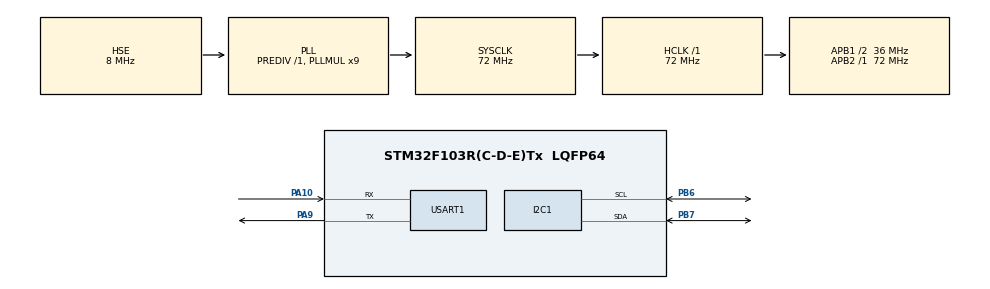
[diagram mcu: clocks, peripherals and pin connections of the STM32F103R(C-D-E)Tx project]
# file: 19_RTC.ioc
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I2C1.I2C_Mode=I2C_Fast
Mcu.Family=STM32F1
Mcu.Name=STM32F103R(C-D-E)Tx
Mcu.Package=LQFP64
NVIC.PriorityGroup=NVIC_PRIORITYGROUP_4
PA10.Mode=Asynchronous
PA10.Signal=USART1_RX
PA13.Mode=Serial_Wire
PA13.Signal=SYS_JTMS-SWDIO
PA14.Mode=Serial_Wire
PA14.Signal=SYS_JTCK-SWCLK
PA9.Mode=Asynchronous
PA9.Signal=USART1_TX
PB6.Mode=I2C
PB6.Signal=I2C1_SCL
PB7.Mode=I2C
PB7.Signal=I2C1_SDA
PC14-OSC32_IN.Mode=LSE-External-Oscillator
PC14-OSC32_IN.Signal=RCC_OSC32_IN
PC15-OSC32_OUT.Mode=LSE-External-Oscillator
PC15-OSC32_OUT.Signal=RCC_OSC32_OUT
PD0-OSC_IN.Mode=HSE-External-Oscillator
PD0-OSC_IN.Signal=RCC_OSC_IN
PD1-OSC_OUT.Mode=HSE-External-Oscillator
PD1-OSC_OUT.Signal=RCC_OSC_OUT
ProjectManager.HeapSize=0x200
ProjectManager.StackSize=0x400
ProjectManager.TargetToolchain=MDK-ARM V5.32
RCC.AHBFreq_Value=72000000
RCC.APB1CLKDivider=RCC_HCLK_DIV2
RCC.APB1Freq_Value=36000000
RCC.APB1TimFreq_Value=72000000
RCC.APB2Freq_Value=72000000
RCC.APB2TimFreq_Value=72000000
RCC.HCLKFreq_Value=72000000
RCC.PLLMUL=RCC_PLL_MUL9
RCC.PLLSourceVirtual=RCC_PLLSOURCE_HSE
RCC.RTCClockSelection=RCC_RTCCLKSOURCE_LSE
RCC.SYSCLKFreq_VALUE=72000000
RCC.SYSCLKSource=RCC_SYSCLKSOURCE_PLLCLK
RCC.USBFreq_Value=72000000
RTC.Format=RTC_FORMAT_BIN
USART1.VirtualMode=VM_ASYNC
VP_RTC_VS_RTC_Activate.Mode=RTC_Enabled
VP_RTC_VS_RTC_Calendar.Mode=RTC_Calendar
board=custom

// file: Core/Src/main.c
/* USER CODE BEGIN Header */
/**
  ******************************************************************************
  * @file           : main.c
  * @brief          : Main program body
  ******************************************************************************
  * @attention
  *
  * Copyright (c) 2024 STMicroelectronics.
  * All rights reserved.
  *
  * This software is licensed under terms that can be found in the LICENSE file
  * in the root directory of this software component.
  * If no LICENSE file comes with this software, it is provided AS-IS.
  *
  ******************************************************************************
  */
/* USER CODE END Header */
#include "main.h"
#include "i2c.h"
#include "rtc.h"
#include "usart.h"
#include "gpio.h"

/* USER CODE BEGIN Includes */
#include "stdio.h"
#include "oled.h"
#include "string.h"
/* USER CODE END Includes */

void SystemClock_Config(void);

int main(void)
{

  /* MCU Configuration--------------------------------------------------------*/

  /* Reset of all peripherals, Initializes the Flash interface and the Systick. */
  HAL_Init();

  /* Configure the system clock */
  SystemClock_Config();

  /* Initialize all configured peripherals */
  MX_GPIO_Init();
  MX_I2C1_Init();
  MX_USART1_UART_Init();
  MX_RTC_Init();
  /* USER CODE BEGIN 2 */
  rtc_init_user();
  /* USER CODE END 2 */

  /* Infinite loop */
  /* USER CODE BEGIN WHILE */
  OLED_Init();
  OLED_Display_On();
  OLED_Clear();

  char date_str[16] = {0};
  while (1)
  {
	RTC_Get();
    memset(date_str, 0, sizeof(date_str));
    sprintf(date_str, "%04d-%02d-%02d", calendar.w_year, calendar.w_month, calendar.w_date);
    printf("%s\r\n", date_str);
    OLED_ShowString(0, 0, date_str, 16, 0);
    memset(date_str, 0, sizeof(date_str));
    sprintf(date_str, "%02d:%02d:%02d", calendar.hour, calendar.min, calendar.sec);
    OLED_ShowString(0, 2, date_str, 16, 0);
    printf("%s\r\n", date_str);
	HAL_Delay(1000);
    /* USER CODE END WHILE */

  }
}

void SystemClock_Config(void)
{
  RCC_OscInitTypeDef RCC_OscInitStruct = {0};
  RCC_ClkInitTypeDef RCC_ClkInitStruct = {0};
  RCC_PeriphCLKInitTypeDef PeriphClkInit = {0};

  /** Initializes the RCC Oscillators according to the specified parameters
  * in the RCC_OscInitTypeDef structure.
  */
  RCC_OscInitStruct.OscillatorType = RCC_OSCILLATORTYPE_HSE|RCC_OSCILLATORTYPE_LSE;
  RCC_OscInitStruct.HSEState = RCC_HSE_ON;
  RCC_OscInitStruct.HSEPredivValue = RCC_HSE_PREDIV_DIV1;
  RCC_OscInitStruct.LSEState = RCC_LSE_ON;
  RCC_OscInitStruct.HSIState = RCC_HSI_ON;
  RCC_OscInitStruct.PLL.PLLState = RCC_PLL_ON;
  RCC_OscInitStruct.PLL.PLLSource = RCC_PLLSOURCE_HSE;
  RCC_OscInitStruct.PLL.PLLMUL = RCC_PLL_MUL9;
  if (HAL_RCC_OscConfig(&RCC_OscInitStruct) != HAL_OK)
  {
    Error_Handler();
  }

  /** Initializes the CPU, AHB and APB buses clocks
  */
  RCC_ClkInitStruct.ClockType = RCC_CLOCKTYPE_HCLK|RCC_CLOCKTYPE_SYSCLK
                              |RCC_CLOCKTYPE_PCLK1|RCC_CLOCKTYPE_PCLK2;
  RCC_ClkInitStruct.SYSCLKSource = RCC_SYSCLKSOURCE_PLLCLK;
  RCC_ClkInitStruct.AHBCLKDivider = RCC_SYSCLK_DIV1;
  RCC_ClkInitStruct.APB1CLKDivider = RCC_HCLK_DIV2;
  RCC_ClkInitStruct.APB2CLKDivider = RCC_HCLK_DIV1;

  if (HAL_RCC_ClockConfig(&RCC_ClkInitStruct, FLASH_LATENCY_2) != HAL_OK)
  {
    Error_Handler();
  }
  PeriphClkInit.PeriphClockSelection = RCC_PERIPHCLK_RTC;
  PeriphClkInit.RTCClockSelection = RCC_RTCCLKSOURCE_LSE;
  if (HAL_RCCEx_PeriphCLKConfig(&PeriphClkInit) != HAL_OK)
  {
    Error_Handler();
  }
}

void Error_Handler(void)
{
  __disable_irq();
  while (1)
  {
  }
}
